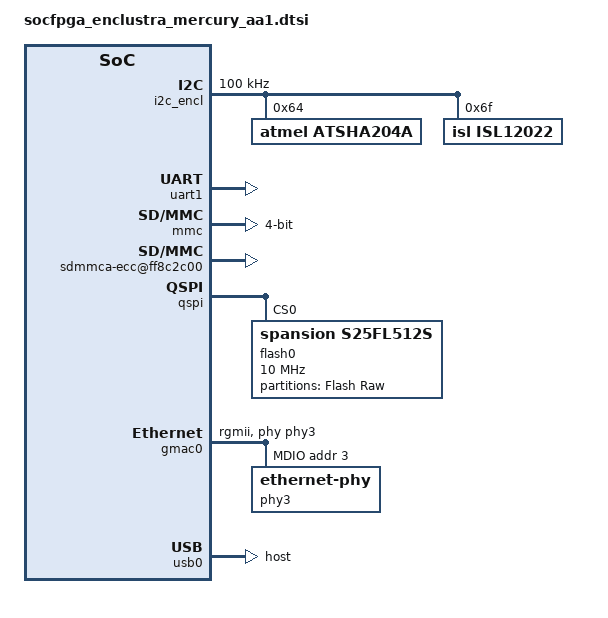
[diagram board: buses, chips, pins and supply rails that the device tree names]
// SPDX-License-Identifier: GPL-2.0+ OR MIT
/*
 * Copyright (C) 2024 Enclustra GmbH - https://www.enclustra.com
 */

/ {
	compatible = "altr,socfpga-arria10", "altr,socfpga";

	aliases {
		serial0 = &uart1;
		ethernet0 = &gmac0;
		spi0 = &qspi;
		i2c0 = &i2c1;
		i2c1 = &i2c0;
	};

	chosen {
		stdout-path = "serial0:115200n8";
	};

	/* define i2c label to be used in baseboard dtsi */
	soc {
		i2c_encl: i2c@ffc02300 {
		};
		i2c_encl_fpga: i2c@ffc02200 {
		};
	};

};

&osc1 {
	clock-frequency = <33330000>;
};

&i2c_encl {
	i2c-sda-hold-time-ns = <300>;
	status = "okay";

	clock-frequency = <100000>;

	atsha204a: atsha204a@64 {
		compatible = "atmel,atsha204a";
		reg = <0x64>;
	};

	isl12022: isl12022@6f {
		compatible = "isl,isl12022";
		reg = <0x6f>;
	};
};

&i2c_encl_fpga {
	i2c-sda-hold-time-ns = <300>;
	status = "disabled";
};

&uart1 {
	status = "okay";
};

&mmc {
	status = "okay";
	cap-sd-highspeed;
	broken-cd;
	bus-width = <4>;
};

&eccmgr {
	sdmmca-ecc@ff8c2c00 {
		compatible = "altr,socfpga-sdmmc-ecc";
		reg = <0xff8c2c00 0x400>;
		altr,ecc-parent = <&mmc>;
		interrupts = <15 IRQ_TYPE_LEVEL_HIGH>,
					 <47 IRQ_TYPE_LEVEL_HIGH>,
					 <16 IRQ_TYPE_LEVEL_HIGH>,
					 <48 IRQ_TYPE_LEVEL_HIGH>;
	};
};

&qspi {
	status = "okay";

	flash0: s25fl512s@0 {
		u-boot,dm-pre-reloc;
		#address-cells = <1>;
		#size-cells = <1>;
		compatible = "spansion,s25fl512s", "jedec,spi-nor";
		reg = <0>;

		spi-rx-bus-width = <4>;
		spi-tx-bus-width = <4>;
		spi-max-frequency = <10000000>;

		page-size = <256>;
		cdns,block-size = <16>; /* 2^16, 64KB */
		cdns,read-delay = <4>;
		cdns,tshsl-ns = <50>;
		cdns,tsd2d-ns = <50>;
		cdns,tchsh-ns = <4>;
		cdns,tslch-ns = <4>;

		partition@raw {
			label = "Flash Raw";
			reg = <0x0 0x4000000>;
		};
	};
};

&watchdog1 {
	status = "disabled";
};

&gmac0 {
	status = "okay";
	/delete-property/ mac-address;
	phy-mode = "rgmii";
	phy-handle = <&phy3>;

	mdio0 {
		#address-cells = <1>;
		#size-cells = <0>;
		compatible = "snps,dwmac-mdio";

		phy3: ethernet-phy@3 {
			reg = <3>;

			/* Add 2ns RX clock delay (1.2ns + 0.78ns)*/
			rxc-skew-ps = <1680>;
			rxd0-skew-ps = <420>;
			rxd1-skew-ps = <420>;
			rxd2-skew-ps = <420>;
			rxd3-skew-ps = <420>;
			rxdv-skew-ps = <420>;

			/* Add 1.38ns TX clock delay (0.96ns + 0.42ns)*/
			txc-skew-ps = <1860>;
			txd0-skew-ps = <0>;
			txd1-skew-ps = <0>;
			txd2-skew-ps = <0>;
			txd3-skew-ps = <0>;
			txen-skew-ps = <0>;
		};
	};
};

&usb0 {
	status = "okay";
	dr_mode = "host";
};
